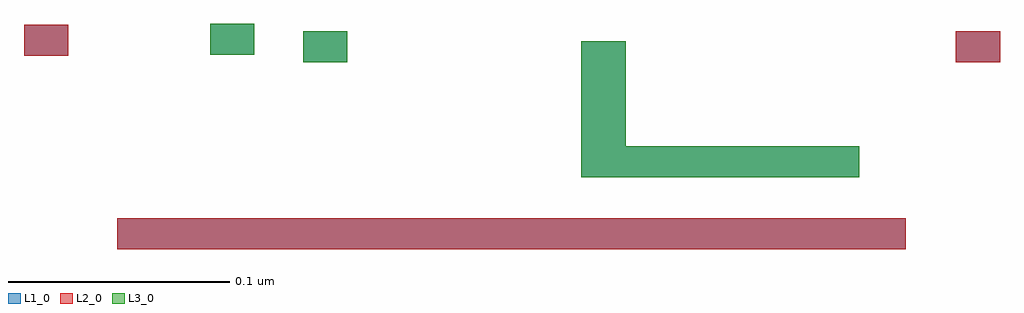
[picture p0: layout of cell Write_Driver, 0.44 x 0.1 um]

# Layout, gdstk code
import gdstk
lib = gdstk.Library(unit=1e-6, precision=5e-10)
def R(c, l, rs):  # rectangles x0, y0, x1, y1
    for r in rs: c.add(gdstk.rectangle(r[:2], r[2:], *l))
def P(c, l, *ps):  # polygons
    for p in ps: c.add(gdstk.Polygon(p, *l))
L1_0 = (1, 0)
L2_0 = (2, 0)
L3_0 = (3, 0)

write_driver = lib.new_cell('Write_Driver')
R(write_driver, L1_0, [(-0.022,0.043,0.334,0.057), (0.062,0.1275,0.082,0.1415), (0.3565,0.1275,0.3765,0.1415), (-0.064,0.1305,-0.044,0.1445), (0.02,0.131,0.04,0.145)])
P(write_driver, L1_0, [(0.2075,0.137),(0.2075,0.0895),(0.313,0.0895),(0.313,0.0755),(0.1875,0.0755),(0.1875,0.137)])
R(write_driver, L2_0, [(-0.022,0.043,0.334,0.057), (0.3565,0.1275,0.3765,0.1415), (-0.064,0.1305,-0.044,0.1445)])
R(write_driver, L3_0, [(0.062,0.1275,0.082,0.1415), (0.02,0.131,0.04,0.145)])
P(write_driver, L3_0, [(0.2075,0.137),(0.2075,0.0895),(0.313,0.0895),(0.313,0.0755),(0.1875,0.0755),(0.1875,0.137)])

lib.write_gds('Write_Driver.gds')
